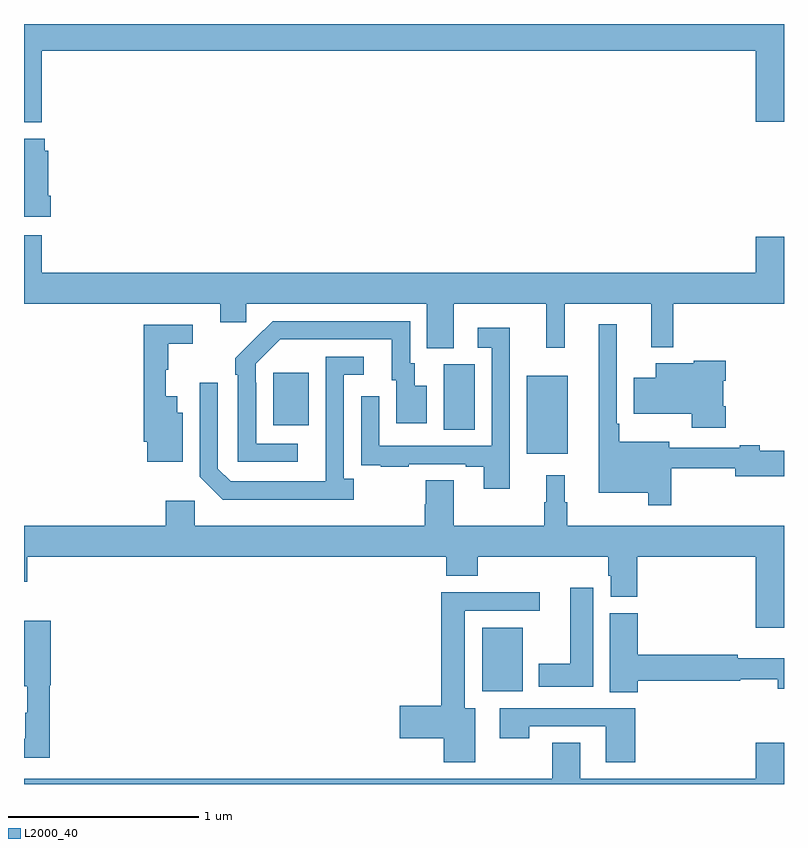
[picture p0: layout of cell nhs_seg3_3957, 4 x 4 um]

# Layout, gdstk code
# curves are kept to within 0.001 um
import gdstk
lib = gdstk.Library(unit=1e-6, precision=1e-09)
def R(c, l, rs):  # rectangles x0, y0, x1, y1
    for r in rs: c.add(gdstk.rectangle(r[:2], r[2:], *l))
def P(c, l, *ps):  # polygons
    for p in ps: c.add(gdstk.Polygon(p, *l))
L2000_40 = (2000, 40)

nhs_seg3_3957 = lib.new_cell('nhs_seg3_3957')
R(nhs_seg3_3957, L2000_40, [(319.412,686.888,319.624,687.223), (319.646,688.139,319.861,688.549), (319.208,688.264,319.372,688.608), (318.311,688.289,318.499,688.564)])
P(nhs_seg3_3957, L2000_40, [(317.093,690.26),(320.852,690.26),(320.852,689.886),(321,689.886),(321,690.4),(317,690.4),(317,689.882),(317.093,689.882)],
  [(317.141,689.497),(317.128,689.497),(317.128,689.733),(317.11,689.733),(317.11,689.797),(317,689.797),(317,689.385),(317.141,689.385)],
  [(319.261,688.928),(319.748,688.928),(319.748,688.695),(319.847,688.695),(319.847,688.928),(320.3,688.928),(320.3,688.7),(320.417,688.7),(320.417,688.928),(321,688.928),(321,689.281),(320.852,689.281),(320.852,689.092),(317.093,689.092),(317.093,689.287),(317,689.287),(317,688.928),(318.032,688.928),(318.032,688.83),(318.171,688.83),(318.171,688.928),(319.121,688.928),(319.121,688.693),(319.261,688.693)],
  [(318.442,688.191),(318.222,688.191),(318.222,688.511),(318.219,688.511),(318.219,688.611),(318.348,688.74),(318.935,688.74),(318.935,688.524),(318.959,688.524),(318.959,688.299),(319.12,688.299),(319.12,688.495),(319.057,688.495),(319.057,688.614),(319.032,688.614),(319.032,688.836),(318.308,688.836),(318.111,688.641),(318.111,688.553),(318.126,688.553),(318.126,688.095),(318.442,688.095)],
  [(320.407,688.062),(320.744,688.062),(320.744,688.019),(321,688.019),(321,688.154),(320.872,688.154),(320.872,688.183),(320.768,688.183),(320.768,688.17),(320.395,688.17),(320.395,688.201),(320.134,688.201),(320.134,688.297),(320.121,688.297),(320.121,688.819),(320.024,688.819),(320.024,687.932),(320.286,687.932),(320.286,687.867),(320.407,687.867)],
  [(317.836,688.354),(317.806,688.354),(317.806,688.441),(317.747,688.441),(317.747,688.581),(317.758,688.581),(317.758,688.717),(317.887,688.717),(317.887,688.818),(317.629,688.818),(317.629,688.201),(317.648,688.201),(317.648,688.097),(317.836,688.097)],
  [(319.557,688.801),(319.389,688.801),(319.389,688.695),(319.461,688.695),(319.461,688.179),(318.87,688.179),(318.87,688.441),(318.774,688.441),(318.774,688.186),(318.775,688.186),(318.775,688.077),(318.877,688.077),(318.877,688.071),(319.025,688.071),(319.025,688.083),(319.325,688.083),(319.325,688.071),(319.421,688.071),(319.421,687.954),(319.557,687.954)],
  [(318.736,688.006),(318.684,688.006),(318.684,688.554),(318.787,688.554),(318.787,688.65),(318.588,688.65),(318.587,687.993),(318.087,687.993),(318.021,688.059),(318.021,688.513),(317.925,688.513),(317.925,688.017),(318.046,687.896),(318.736,687.896)],
  [(320.693,688.387),(320.68,688.387),(320.68,688.523),(320.693,688.523),(320.693,688.627),(320.526,688.627),(320.526,688.615),(320.324,688.615),(320.324,688.537),(320.21,688.537),(320.21,688.349),(320.515,688.349),(320.515,688.275),(320.693,688.275)],
  [(319.223,687.497),(319.388,687.497),(319.388,687.596),(320.075,687.596),(320.075,687.495),(320.087,687.495),(320.087,687.385),(320.228,687.385),(320.228,687.596),(320.852,687.596),(320.852,687.222),(321,687.222),(321,687.76),(319.858,687.76),(319.858,687.884),(319.846,687.884),(319.846,688.024),(319.748,688.024),(319.748,687.884),(319.737,687.884),(319.737,687.76),(319.261,687.76),(319.261,687.998),(319.114,687.998),(319.114,687.873),(319.109,687.873),(319.109,687.76),(317.898,687.76),(317.898,687.892),(317.747,687.892),(317.747,687.76),(317,687.76),(317,687.465),(317.018,687.465),(317.018,687.596),(319.223,687.596)],
  [(319.996,687.433),(319.874,687.433),(319.874,687.034),(319.709,687.034),(319.709,686.912),(319.996,686.912)],
  [(319.375,686.8),(319.321,686.8),(319.321,687.312),(319.714,687.312),(319.714,687.41),(319.196,687.41),(319.196,686.813),(318.978,686.813),(318.978,686.642),(319.208,686.642),(319.208,686.514),(319.375,686.514)],
  [(320.231,686.944),(320.77,686.944),(320.77,686.952),(320.966,686.952),(320.966,686.902),(321,686.902),(321,687.061),(320.756,687.061),(320.756,687.08),(320.231,687.08),(320.231,687.3),(320.084,687.3),(320.084,686.884),(320.231,686.884)],
  [(317.135,686.919),(317.141,686.919),(317.141,687.259),(317,687.259),(317,686.915),(317.018,686.915),(317.018,686.775),(317.007,686.775),(317.007,686.639),(317,686.639),(317,686.538),(317.135,686.538)],
  [(320.216,686.799),(319.503,686.799),(319.503,686.64),(319.659,686.64),(319.659,686.703),(320.063,686.703),(320.063,686.514),(320.216,686.514)],
  [(321,686.617),(320.852,686.617),(320.852,686.428),(319.927,686.428),(319.927,686.618),(319.78,686.618),(319.78,686.428),(317,686.428),(317,686.4),(321,686.4)])

lib.write_gds('nhs_seg3_3957.gds')
